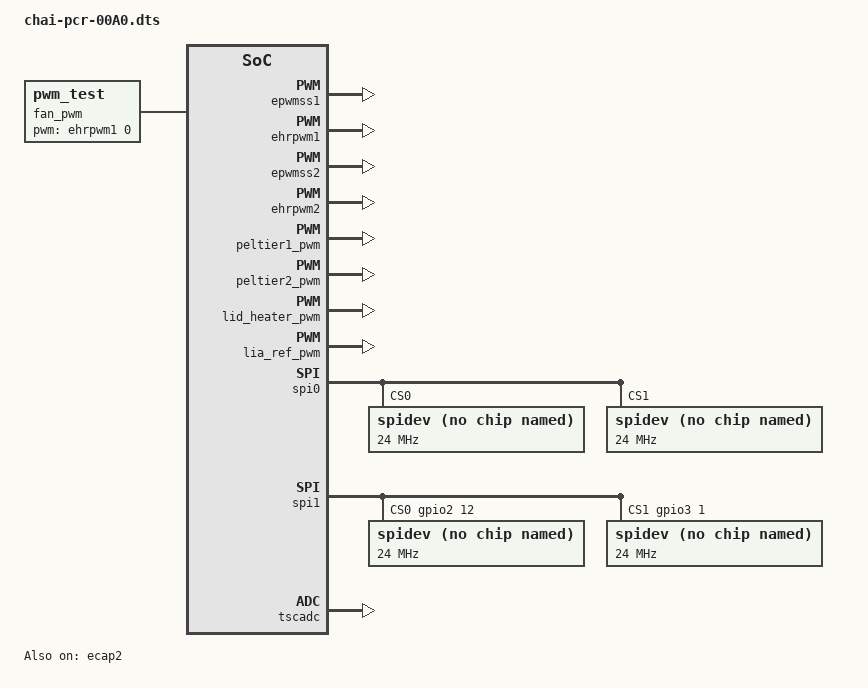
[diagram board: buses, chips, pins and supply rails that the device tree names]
/dts-v1/;
/plugin/;

/{
	compatible = "ti,beaglebone", "ti,beaglebone-black";
	part-number = "chai-pcr";
	version = "00A0";

	/* state the resources this cape uses */
	exclusive-use =
		/* the pin header uses */
		//"P9.42",              /* pwm: eCAP0 LED backlight defined in LCD device tree*/ 

		//Peltier
		"P8.13",                /* pwm: ehrpwm2B PELTIER 1 - Ouput*/
		"P8.19",                /* pwm: ehrpwm2A PELTIER 2 - Ouput*/
		"P8.09",                /* gpio: PELTIER 1_INA - Ouput*/
		"P8.11",                /* gpio: PELTIER 1_INB - Ouput*/
		"P8.15",                /* gpio: PELTIER 2_INA - Ouput*/
		"P8.17",                /* gpio: PELTIER 2_INB - Ouput*/

		//LED board
		"P9.16",		/* pwm: EHRPWM1B Lid heater PWM - Output*/
		"P8.18",		/* gpio: LED_DIGIPOT_CS - Ouput */
		"P8.12",		/* gpio: LED XLAT/LED_CONTROL_CS - Ouput */
		"P8.14",		/* gpio: VPRG - Ouput */
		"P8.08",		/* gpio: XERR - Input */
		"P9.29",		/* SPI1: SPI1_SD0 (SOUT from LED BOARD) - Input */
		"P9.30",		/* SPI1: SPI1_SD1 (SIN to LED BOARD) - Ouput */
		"P9.31",		/* SPI1: SPI1_CLK (SCLK to LED BOARD) - Ouput */

		//MCU - Shared SPI with LED board
		"P8.10",		/* gpio: MCU_SS - Output */

		//LTC2444
		"P9.17",		/* gpio: SPI_CS or LTC2444 CS - Output*/
		"P9.41",		/* gpio: SPI_BUSY or LTC2444 busy - Input */
		"P9.21",		/* SPI0: SPI_SD0 (SDO from LTC2444) - Input */
		"P9.18",		/* SPI0: SPI_SD1 (SDI to LTC2444) - Ouput */
		"P9.22",		/* SPI0: SPI_CLK (SCLK to LTC2444) - Ouput */

		//LIA MUX
		"P9.11",		/* gpio: MUX_CONTROL_PIN0 - Output*/
		"P9.13",		/* gpio: MUX_CONTROL_PIN1 - Output*/
		"P9.15",		/* gpio: MUX_CONTROL_PIN2 - Output*/
		"P9.12",		/* gpio: MUX_CONTROL_PIN3 - Output*/

		//LID
		"P8.26",		/* gpio: lid open/close sense - Input*/
		"P9.28",		/* pwm: eCAP2_PWM2 LIA reference PWM - Ouput */
		
		//Heatsink
		"P9.14",		/* pwm: EHRPWM1A Fan PWM - Output */
		
		"P9.39",		/* AIN0 */
		"P9.40",		/* AIN1 */
		"P9.37",		/* AIN2 */
		"P9.38",		/* AIN3 */
		"P9.33",		/* AIN4 */
		"P9.36",		/* AIN5 - HEATSINK_ADC_IN */
		"P9.35",		/* AIN6 */
	
		/* the hardware IP uses */
		"tscadc",
		"spi0",			//SPI for LEDboard and MCU
		"spi1",			//SPI for LTC2444
		"eCAP2_in_PWM2_out",
		"ehrpwm1A",
		"ehrpwm1B", 		
		"ehrpwm2A",		//Peltier 2 PWM
		"ehrpwm2B";		//Peltier 1 PWM


		
	fragment@0 {
		target = <&am33xx_pinmux>;
		__overlay__ {
			/* peltier PWM pins */
			
			peltier1_pwm_pin: pinmux_peltier1_pwm_pin {
				pinctrl-single,pins = <
					0x024 0x04  /* P8.13 ehrpwm2b, MODE4 */
				>;
			};

			peltier2_pwm_pin: pinmux_peltier2_pwm_pin {
				pinctrl-single,pins = <
					0x020 0x04  /* P8.19 ehrpwm2a, MODE4 */
				>;
			};

			lia_ref_pwm_pin: pinmux_lia_ref_pwm_pin {
				pinctrl-single,pins = <
					0x19c 0x04  /* P9.28 eCAP2_PWM2, MODE4 */
				>;
			};

			lid_heater_pwm_pin: pinmux_lid_heater_pwm_pin {
				pinctrl-single,pins = <
					0x04c 0x06  /* P9.16 ehrpwm1b, MODE6 */
				>;
			};
			
			fan_pwm_pin: pinmux_fan_pwm_pin {
				pinctrl-single,pins = <
					0x048 0x06  /* P9.14 ehrpwm1a, MODE6 */
				>;
			};

			/* end peltier pins */

			/* GPIO pins*/
			qpcr_gpio_pins: pinmux_qpcr_gpio_pins {
				pinctrl-single,pins = <
					/* Peltier GPIO*/
					0x09c 0x0F  /* P8.09 PELTIER 1_INA gpio2_5, OUTPUT_PULLUP | MODE7 */
					0x034 0x0F  /* P8.11 PELTIER 1_INB gpio1_13, OUTPUT_PULLUP | MODE7 */
					0x03c 0x0F  /* P8.15 PELTIER 2_INA gpio1_15, OUTPUT_PULLUP | MODE7 */
					0x02c 0x0F  /* P8.17 PELTIER 2_INB gpio0_27, OUTPUT_PULLUP | MODE7 */
					
					/* LED board GPIO */
					0x08c 0x17  /* P8.18 LED_DIGIPOT_CS gpio2_1, OUTPUT_PULLUP | MODE7 */
					0x030 0x17  /* P8.12 LED XLAT/LED_CONTROL_CS gpio1_12, OUTPUT_PULLUP | MODE7 */
					0x028 0x0F  /* P8.14 VPRG gpio0_26, OUTPUT_PULLDOWN | MODE7 */
					0x094 0x37  /* P8.08 XERR gpio2_3, INPUT_PULLUP | MODE7 */

					/* MCU */
					0x098 0x17  /* P8.10 LED_DIGIPOT_CS gpio2_1, OUTPUT_PULLUP | MODE7 */
					
					/* LTC2444 GPIO */
					/*0x15C 0x07   P9.17 SPI_CS LTC2444 gpio0_5, OUTPUT_PULLUP | MODE7 */
					0x1b4 0x37  /* P9.41.1 SPI_BUSY or LTC2444 busy gpio0_20, INPUT_PULLUP | MODE7 */
					0x1a8 0x37  /* P9.41.2 Pin shared with SPI_BUSY or LTC2444 busy gpio0_20, INPUT_PULLUP | MODE7 */
					

					/* LIA MUX GPIO*/
                                        0x070 0x07  /* P9.11 MUX_CONTROL_PIN0 gpio0_30, OUTPUT_PULLUP | MODE7 */
                                        0x074 0x07  /* P9.13 MUX_CONTROL_PIN1 gpio0_31, OUTPUT_PULLUP | MODE7 */
                                        0x040 0x07  /* P9.15 MUX_CONTROL_PIN2 gpio1_16, OUTPUT_PULLUP | MODE7 */
					0x078 0x07  /* P9.12 MUX_CONTROL_PIN3 gpio1_28, OUTPUT_PULLUP | MODE7 */

					
				>;
			};
			/* end GPIO pins*/

			/* SPI0 pins (used by LTC2444)*/
			spi0_pins: pinmux_spi0_pins {
				pinctrl-single,pins = <
					0x154 0x30  /* P9.21 spi0_d0, INPUT_PULLUP | MODE0 */
					0x158 0x10  /* P9.18 spi0_d1, OUTPUT_PULLUP | MODE0 */
 					0x150 0x30  /* P9.22 spi0_sclk, INPUT_PULLUP | MODE0 */
					0x15C 0x10  /* P9.17 SPI_CS, OUTPUT_PULLUP | MODE0 */
				>;
			};

			/* end SPI0 pins */

			/* SPI1 pins used by Led board/digipot/MCU */
			spi1_pins: pinmux_spi1_pins {
				pinctrl-single,pins = <
					0x194 0x33  /* P9.29 spi1_d0, INPUT_PULLUP | MODE3 */
					0x198 0x13  /* P9.30 spi1_d1, OUTPUT_PULLUP | MODE3 */
					0x190 0x33  /* P9.31 spi1_sclk, INPUT_PULLUP | MODE3 */
				>;
			};

			/* end SPI1 pins */
		};
	};
	
	/* from am3xx_pwm */ 
	fragment@1 {
	    target = <&epwmss1>;
	    __overlay__ {
		    status = "okay";
	    };
	};

	fragment@2 {
	    target = <&ehrpwm1>;
	    __overlay__ {
		    status = "okay";
	    };
	};

	fragment@3 {
	    target = <&epwmss2>;
	    __overlay__ {
		    status = "okay";
	    };
	};

	fragment@4 {
	    target = <&ehrpwm2>;
	    __overlay__ {
		    status = "okay";
	    };
	};

	fragment@5 {
	   target = <&ecap2>;
	    __overlay__ {
		    status = "okay";
	    };
	};

	
	fragment@6 {
		target = <&ocp>;
		__overlay__ {
			peltier1_pwm {
			    compatible      = "pwm_test";
			    pwms            = <&ehrpwm2 1 50000 0>;
			    pwm-names       = "PWM_P8_13";
			    pinctrl-names   = "default";
			    pinctrl-0       = <&peltier1_pwm_pin>;
			    enabled         = <1>;
			    duty            = <0>;
			    status          = "okay";
			};

			peltier2_pwm {
			    compatible      = "pwm_test";
			    pwms            = <&ehrpwm2 0 50000 0>;
			    pwm-names       = "PWM_P8_19";
			    pinctrl-names   = "default";
			    pinctrl-0       = <&peltier2_pwm_pin>;
			    enabled         = <1>;
			    duty            = <0>;
			    status          = "okay";
			};
	
			lid_heater_pwm {
			    compatible      = "pwm_test";
			    pwms            = <&ehrpwm1 1 500000 0>;
			    pwm-names       = "PWM_P9_16";
			    pinctrl-names   = "default";
			    pinctrl-0       = <&lid_heater_pwm_pin>;
			    enabled         = <1>;
			    duty            = <0>;
			    status          = "okay";
			};

			fan_pwm {
			    compatible      = "pwm_test";
			    pwms 	    = <&ehrpwm1 0 500000 0>;
			    pwm-names       = "PWM_P9_14";				    
			    pinctrl-names   = "default";
			    pinctrl-0       = <&fan_pwm_pin>;
			    enabled         = <1>;
			    duty            = <0>;
			    status          = "okay";
			};
			
			lia_ref_pwm {
			    compatible      = "pwm_test";
			    pwms 	    = <&ecap2 0 500000 1>;
			    pwm-names       = "PWM_P9_28";			    
			    pinctrl-names   = "default";
			    pinctrl-0       = <&lia_ref_pwm_pin>;
			    enabled         = <1>;
			    duty            = <0>;
			    status          = "okay";
			};
		};
	};

	/* SPI0 */
	fragment@7 {
		target = <&spi0>;
		__overlay__ {
			#address-cells = <1>;
			#size-cells = <0>;

			status = "okay";
			pinctrl-names = "default";
			pinctrl-0 = <&spi0_pins>;
			/*cs-gpios = <&gpio2 28 0>;*/

			spidev@0 {
				spi-max-frequency = <24000000>;
				reg = <0>;
				compatible = "spidev";
			};
			spidev@1 {
				spi-max-frequency = <24000000>;
				reg = <1>;
				compatible = "spidev";
			};            
		};
	};
	
	/* SPI1 */
	fragment@8 {
		target = <&spi1>;
		__overlay__ {
			#address-cells = <1>;
			#size-cells = <0>;

			status = "okay";
			pinctrl-names = "default";
			pinctrl-0 = <&spi1_pins>;
			cs-gpios = <&gpio2 12 0>, <&gpio3 1 0>, <&gpio3 4 0>;

			spidev@0 {
				spi-max-frequency = <24000000>;
				reg = <0>;
				compatible = "spidev";
			};
			spidev@1 {
				spi-max-frequency = <24000000>;
				reg = <1>;
				compatible = "spidev";
			};            
		};
	};
	/* GPIO */
	fragment@9 {
		target = <&ocp>;
		__overlay__ {
			test_helper: helper {
				compatible = "bone-pinmux-helper";
				pinctrl-names = "default";
				pinctrl-0 = <&qpcr_gpio_pins>;
				status = "okay";
			};
		};
	};
	fragment@10 {
                target = <&tscadc>;
                __overlay__ {
                        status = "okay";
                        adc {
                                ti,adc-channels = <0 1 2 3 4 5 6>;
                                ti,chan-step-avg = <0x16 0x16 0x16 0x16 0x16 0x16 0x16>;
                                ti,chan-step-opendelay = <0x98 0x98 0x98 0x98 0x98 0x98 0x98>;
                                ti,chan-step-sampledelay = <0x0 0x0 0x0 0x0 0x0 0x0 0x0>;
                        };
                };
        };
	/* old ADC work 
	fragment@10 {
		target = <&ocp>;
		__overlay__ {
			/* avoid stupid warning * /
			#address-cells = <1>;
			#size-cells = <1>;

			tscadc {
				compatible = "ti,ti-tscadc";
				reg = <0x44e0d000 0x1000>;

				interrupt-parent = <&intc>;
				interrupts = <16>;
				ti,hwmods = "adc_tsc";
				status = "okay";

				adc {
					ti,adc-channels = <0 1 2 3 4 5 6 7>;
				};
			};

			test_helper_adc: helper {
				compatible = "bone-iio-helper";
				vsense-name  = "AIN0", "AIN1", "AIN2", "AIN3", "AIN4", "AIN5", "AIN6", "AIN7";
				vsense-scale = <100     100     100     100     100     100     100     100>;
				status = "okay";
			};
		};
	};*/

};
